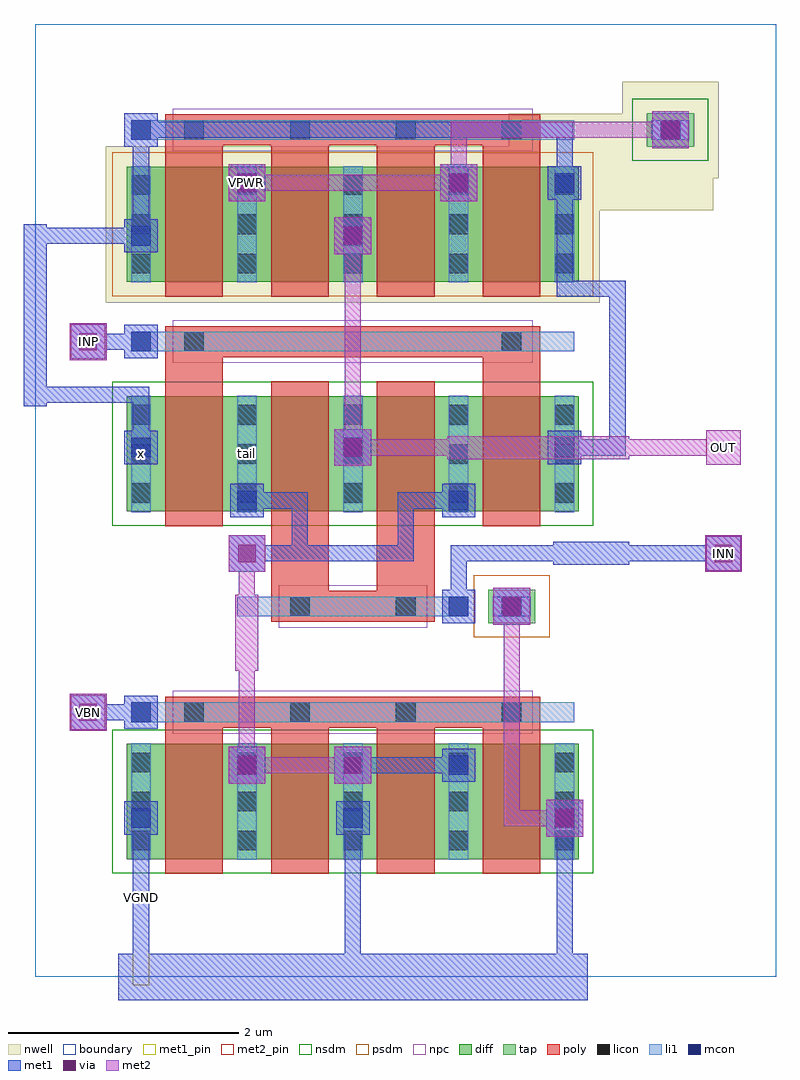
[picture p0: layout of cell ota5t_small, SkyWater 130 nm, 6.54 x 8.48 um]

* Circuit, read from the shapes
.subckt ota5t_small INN INP OUT VBN VGND VPWR tail x
XM1 tail VBN VGND VGND sky130_fd_pr__nfet_01v8 w=1 l=0.5 m=4
XM2 tail INP x VGND sky130_fd_pr__nfet_01v8 w=1 l=0.5 m=2
XM3 OUT INN tail VGND sky130_fd_pr__nfet_01v8 w=1 l=0.5 m=2
XM4 VPWR x x VPWR sky130_fd_pr__pfet_01v8 w=1 l=0.5 m=2
XM5 OUT x VPWR VPWR sky130_fd_pr__pfet_01v8 w=1 l=0.5 m=2
.ends

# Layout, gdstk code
import gdstk
lib = gdstk.Library(unit=1e-6, precision=1e-09)
def R(c, l, rs):  # rectangles x0, y0, x1, y1
    for r in rs: c.add(gdstk.rectangle(r[:2], r[2:], *l))
def A(c, l, x, y, w, h, nx, ny, dx, dy):  # array of equal rectangles
    R(c, l, [(x+i*dx, y+j*dy, x+i*dx+w, y+j*dy+h) for i in range(nx) for j in range(ny)])
nwell = (64, 20)
diff = (65, 20)
tap = (65, 44)
poly = (66, 20)
licon = (66, 44)
li1 = (67, 20)
mcon = (67, 44)
met1_pin = (68, 16)
met1 = (68, 20)
via = (68, 44)
met2_pin = (69, 16)
met2 = (69, 20)
nsdm = (93, 44)
psdm = (94, 20)
npc = (95, 20)
boundary = (235, 4)

ota5t_small = lib.new_cell('ota5t_small')
R(ota5t_small, nwell, [(0.615,5.86,4.905,6.66), (0.615,6.66,5.892,6.94), (0.615,6.94,5.94,7.22), (4.113,7.22,5.94,7.5), (5.1,7.5,5.94,7.78)])
R(ota5t_small, diff, [(0.795,1.025,4.725,2.025), (0.795,4.045,4.725,5.045), (0.795,6.04,4.725,7.04)])
R(ota5t_small, tap, [(3.935,3.075,4.345,3.365), (5.315,7.215,5.725,7.505)])
A(ota5t_small, poly, 1.13, 0.895, 0.5, 1.405, 4, 1, 0.92, 0)
A(ota5t_small, poly, 1.13, 5.91, 0.5, 1.45, 4, 1, 0.92, 0)
R(ota5t_small, poly, [(1.13,2.165,4.39,2.435), (2.05,3.085,3.47,3.355), (2.05,3.22,2.55,5.175), (2.97,3.22,3.47,5.175), (1.13,3.915,1.63,5.52), (3.89,3.915,4.39,5.52), (1.13,5.385,4.39,5.655), (1.13,7.225,4.39,7.495)])
A(ota5t_small, licon, 0.835, 1.1, 0.17, 0.17, 5, 3, 0.92, 0.34)
A(ota5t_small, licon, 1.295, 2.215, 0.17, 0.17, 4, 2, 0.92, 5.06)
A(ota5t_small, licon, 2.215, 3.135, 0.17, 0.17, 3, 1, 0.92, 0)
A(ota5t_small, licon, 0.835, 4.12, 0.17, 0.17, 5, 3, 0.92, 0.34)
A(ota5t_small, licon, 0.835, 6.115, 0.17, 0.17, 5, 3, 0.92, 0.34)
R(ota5t_small, licon, [(1.295,5.435,1.465,5.605), (4.055,5.435,4.225,5.605), (5.435,7.275,5.605,7.445)])
A(ota5t_small, li1, 0.835, 1.02, 0.17, 1.01, 5, 2, 0.92, 3.02)
A(ota5t_small, li1, 0.835, 6.035, 0.17, 1.01, 5, 1, 0.92, 0)
R(ota5t_small, li1, [(0.835,2.215,4.685,2.385), (1.755,3.135,3.765,3.305), (3.975,3.135,4.305,3.305), (0.835,5.435,4.685,5.605), (0.835,7.275,4.685,7.445), (5.355,7.275,5.685,7.445)])
A(ota5t_small, mcon, 0.835, 1.295, 0.17, 0.17, 3, 2, 1.84, 3.22)
A(ota5t_small, mcon, 0.835, 5.435, 0.17, 0.17, 1, 3, 0, 0.92)
R(ota5t_small, mcon, [(1.755,1.755,1.925,1.925), (3.595,1.755,3.765,1.925), (0.835,2.215,1.005,2.385), (3.595,3.135,3.765,3.305), (4.055,3.135,4.225,3.305), (1.755,4.055,1.925,4.225), (3.595,4.055,3.765,4.225), (2.675,6.355,2.845,6.525), (1.755,6.815,1.925,6.985), (3.595,6.815,3.765,6.985), (4.515,6.815,4.685,6.985), (5.435,7.275,5.605,7.445)])
R(ota5t_small, met1_pin, [(0.85,-0.07,0.99,1.45), (1.695,6.755,1.985,7.045)])
A(ota5t_small, met1, 0.85, -0.07, 0.14, 1.52, 3, 1, 1.84, 0)
A(ota5t_small, met1, 0.775, 1.235, 0.29, 0.29, 3, 2, 1.84, 3.22)
A(ota5t_small, met1, 2.23, 3.61, 1.06, 0.14, 3, 1, 1.38, 0)
A(ota5t_small, met1, 0.775, 5.375, 0.29, 0.29, 1, 3, 0, 0.92)
R(ota5t_small, met1, [(0.72,-0.2,2.96,0.2), (2.56,-0.2,4.8,0.2), (4.44,1.22,4.76,1.54), (1.68,1.68,2,2), (2.6,1.68,2.92,2), (1.695,1.695,1.985,1.985), (3.535,1.695,3.825,1.985), (2.69,1.77,3.75,1.91), (0.3,2.14,0.62,2.46), (0.775,2.155,1.065,2.445), (0.39,2.23,0.99,2.37), (3.98,3.06,4.3,3.38), (3.535,3.075,3.825,3.365), (3.995,3.075,4.285,3.365), (3.61,3.15,3.75,3.75), (4.07,3.15,4.21,3.29), (1.68,3.52,2,3.84), (5.82,3.52,6.14,3.84), (4.5,3.58,5.16,3.78), (1.77,3.61,2.37,3.75), (2.23,3.61,2.37,4.21), (3.15,3.61,3.29,4.21), (1.695,3.995,1.985,4.285), (3.535,3.995,3.825,4.285), (1.77,4.07,2.37,4.21), (3.15,4.07,3.75,4.21), (2.6,4.44,2.92,4.76), (0.85,4.53,0.99,5.13), (4.53,4.53,5.13,4.67), (4.99,4.53,5.13,6.05), (-0.1,4.96,0.1,6.54), (-0.07,4.99,0.99,5.13), (0.3,5.36,0.62,5.68), (0.39,5.45,0.99,5.59), (4.53,5.91,5.13,6.05), (4.53,5.91,4.67,6.97), (2.6,6.28,2.92,6.6), (2.615,6.295,2.905,6.585), (-0.07,6.37,0.99,6.51), (0.85,6.37,0.99,7.43), (1.68,6.74,2,7.06), (3.52,6.74,3.84,7.06), (1.695,6.755,1.985,7.045), (3.535,6.755,3.825,7.045), (4.455,6.755,4.745,7.045), (4.53,6.83,4.67,7.43), (5.36,7.2,5.68,7.52), (5.375,7.215,5.665,7.505), (0.85,7.29,4.67,7.43), (5.45,7.29,5.59,7.43)])
R(ota5t_small, via, [(4.525,1.305,4.675,1.455), (1.765,1.765,1.915,1.915), (2.685,1.765,2.835,1.915), (0.385,2.225,0.535,2.375), (4.065,3.145,4.215,3.295), (1.765,3.605,1.915,3.755), (5.905,3.605,6.055,3.755), (2.685,4.525,2.835,4.675), (0.385,5.445,0.535,5.595), (2.685,6.365,2.835,6.515), (1.765,6.825,1.915,6.975), (3.605,6.825,3.755,6.975), (5.445,7.285,5.595,7.435)])
R(ota5t_small, met2_pin, [(0.31,2.15,0.61,2.45), (5.83,3.53,6.13,3.83), (5.83,4.45,6.13,4.75), (0.31,5.37,0.61,5.67)])
R(ota5t_small, met2, [(4.44,1.22,4.76,1.54), (4.07,1.31,4.21,3.29), (4.07,1.31,4.67,1.45), (1.68,1.68,2,2), (2.6,1.68,2.92,2), (1.77,1.77,2.83,1.91), (1.77,1.77,1.91,2.83), (0.3,2.14,0.62,2.46), (0.31,2.15,0.61,2.45), (0.39,2.23,0.53,2.37), (1.74,2.66,1.94,3.32), (3.98,3.06,4.3,3.38), (1.77,3.15,1.91,3.75), (1.68,3.52,2,3.84), (5.82,3.52,6.14,3.84), (5.83,3.53,6.13,3.83), (5.91,3.61,6.05,3.75), (2.6,4.44,2.92,4.76), (5.83,4.45,6.13,4.75), (3.58,4.5,5.16,4.7), (2.69,4.53,2.83,6.51), (2.69,4.53,3.75,4.67), (4.99,4.53,6.05,4.67), (5.91,4.53,6.05,4.67), (0.3,5.36,0.62,5.68), (0.31,5.37,0.61,5.67), (0.39,5.45,0.53,5.59), (2.6,6.28,2.92,6.6), (1.68,6.74,2,7.06), (3.52,6.74,3.84,7.06), (1.77,6.83,3.75,6.97), (3.61,6.83,3.75,7.43), (5.36,7.2,5.68,7.52), (3.61,7.29,5.59,7.43)])
R(ota5t_small, nsdm, [(0.67,0.9,4.85,2.15), (0.67,3.92,4.85,5.17), (5.19,7.09,5.85,7.63)])
R(ota5t_small, psdm, [(3.81,2.95,4.47,3.49), (0.67,5.915,4.85,7.165)])
R(ota5t_small, npc, [(1.195,2.115,4.325,2.485), (2.115,3.035,3.405,3.405), (1.195,5.335,4.325,5.705), (1.195,7.175,4.325,7.545)])
R(ota5t_small, boundary, [(0,0,6.44,8.28)])
ota5t_small.add(gdstk.Label('x', (0.92,4.545), layer=67, texttype=5))
ota5t_small.add(gdstk.Label('tail', (1.84,4.545), layer=67, texttype=5))
ota5t_small.add(gdstk.Label('VPWR', (1.84,6.9), layer=68, texttype=5))
ota5t_small.add(gdstk.Label('VGND', (0.92,0.69), layer=68, texttype=5))
ota5t_small.add(gdstk.Label('INP', (0.46,5.52), layer=69, texttype=5))
ota5t_small.add(gdstk.Label('INN', (5.98,3.68), layer=69, texttype=5))
ota5t_small.add(gdstk.Label('VBN', (0.46,2.3), layer=69, texttype=5))
ota5t_small.add(gdstk.Label('OUT', (5.98,4.6), layer=69, texttype=5))
ota5t_small.add(gdstk.Label('VPWR', (1.84,6.9), layer=68, texttype=16))
ota5t_small.add(gdstk.Label('VGND', (0.92,0.69), layer=68, texttype=16))
ota5t_small.add(gdstk.Label('INP', (0.46,5.52), layer=69, texttype=16))
ota5t_small.add(gdstk.Label('INN', (5.98,3.68), layer=69, texttype=16))
ota5t_small.add(gdstk.Label('VBN', (0.46,2.3), layer=69, texttype=16))
ota5t_small.add(gdstk.Label('OUT', (5.98,4.6), layer=69, texttype=16))

lib.write_gds('ota5t_small.gds')
